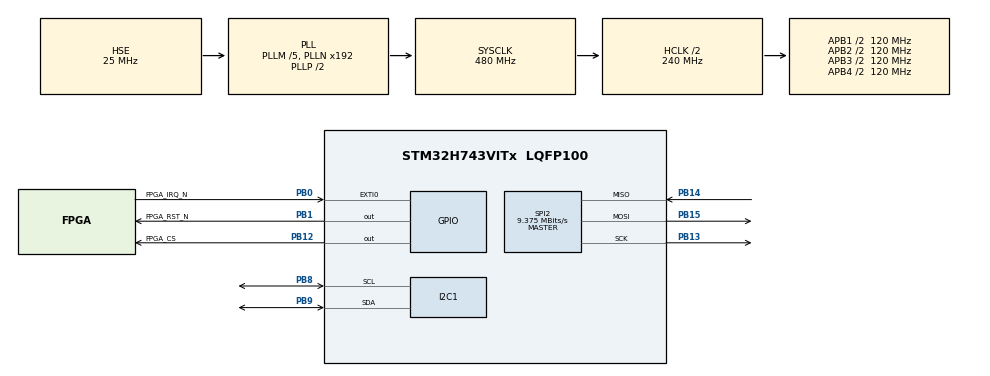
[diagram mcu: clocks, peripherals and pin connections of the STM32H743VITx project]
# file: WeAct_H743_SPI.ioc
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CORTEX_M7.default_mode_Activation=1
Dma.Request0=SPI2_TX
Dma.Request1=SPI2_RX
Dma.SPI2_RX.1.Direction=DMA_PERIPH_TO_MEMORY
Dma.SPI2_RX.1.EventEnable=DISABLE
Dma.SPI2_RX.1.FIFOMode=DMA_FIFOMODE_DISABLE
Dma.SPI2_RX.1.Instance=DMA1_Stream1
Dma.SPI2_RX.1.MemDataAlignment=DMA_MDATAALIGN_BYTE
Dma.SPI2_RX.1.MemInc=DMA_MINC_ENABLE
Dma.SPI2_RX.1.Mode=DMA_NORMAL
Dma.SPI2_RX.1.PeriphDataAlignment=DMA_PDATAALIGN_BYTE
Dma.SPI2_RX.1.PeriphInc=DMA_PINC_DISABLE
Dma.SPI2_RX.1.Polarity=HAL_DMAMUX_REQ_GEN_RISING
Dma.SPI2_RX.1.Priority=DMA_PRIORITY_HIGH
Dma.SPI2_RX.1.RequestNumber=1
Dma.SPI2_RX.1.SignalID=NONE
Dma.SPI2_RX.1.SyncEnable=DISABLE
Dma.SPI2_RX.1.SyncPolarity=HAL_DMAMUX_SYNC_NO_EVENT
Dma.SPI2_RX.1.SyncRequestNumber=1
Dma.SPI2_RX.1.SyncSignalID=NONE
Dma.SPI2_TX.0.Direction=DMA_MEMORY_TO_PERIPH
Dma.SPI2_TX.0.EventEnable=DISABLE
Dma.SPI2_TX.0.FIFOMode=DMA_FIFOMODE_DISABLE
Dma.SPI2_TX.0.Instance=DMA1_Stream0
Dma.SPI2_TX.0.MemDataAlignment=DMA_MDATAALIGN_BYTE
Dma.SPI2_TX.0.MemInc=DMA_MINC_ENABLE
Dma.SPI2_TX.0.Mode=DMA_NORMAL
Dma.SPI2_TX.0.PeriphDataAlignment=DMA_PDATAALIGN_BYTE
Dma.SPI2_TX.0.PeriphInc=DMA_PINC_DISABLE
Dma.SPI2_TX.0.Polarity=HAL_DMAMUX_REQ_GEN_RISING
Dma.SPI2_TX.0.Priority=DMA_PRIORITY_HIGH
Dma.SPI2_TX.0.RequestNumber=1
Dma.SPI2_TX.0.SignalID=NONE
Dma.SPI2_TX.0.SyncEnable=DISABLE
Dma.SPI2_TX.0.SyncPolarity=HAL_DMAMUX_SYNC_NO_EVENT
Dma.SPI2_TX.0.SyncRequestNumber=1
Dma.SPI2_TX.0.SyncSignalID=NONE
FREERTOS.Queues01=displayQueue,8,DisplayRequest,0,Dynamic,NULL,NULL
FREERTOS.Tasks01=defaultTask,8,128,StartDefaultTask,Default,NULL,Dynamic,NULL,NULL;DisplayTask,24,1024,StartDisplayTask,Default,NULL,Dynamic,NULL,NULL;GuiTask,16,2048,StartGuiTask,Default,NULL,Dynamic,NULL,NULL
FREERTOS.configCHECK_FOR_STACK_OVERFLOW=2
FREERTOS.configTOTAL_HEAP_SIZE=32768
FREERTOS.configUSE_MALLOC_FAILED_HOOK=1
Mcu.Family=STM32H7
Mcu.Name=STM32H743VITx
Mcu.Package=LQFP100
NVIC.DMA1_Stream0_IRQn=true\:5\:0\:false\:false\:true\:true\:true\:true
NVIC.DMA1_Stream1_IRQn=true\:5\:0\:false\:false\:true\:true\:true\:true
NVIC.EXTI0_IRQn=true\:5\:0\:false\:false\:true\:true\:true\:true
NVIC.PriorityGroup=NVIC_PRIORITYGROUP_4
NVIC.SPI2_IRQn=true\:5\:0\:false\:false\:true\:true\:true\:true
NVIC.TIM6_DAC_IRQn=true\:15\:0\:false\:false\:true\:false\:false\:true\:true
NVIC.TimeBase=TIM6_DAC_IRQn
NVIC.TimeBaseIP=TIM6
PA13\ (JTMS/SWDIO).Mode=Serial_Wire
PA13\ (JTMS/SWDIO).Signal=DEBUG_JTMS-SWDIO
PA14\ (JTCK/SWCLK).Mode=Serial_Wire
PA14\ (JTCK/SWCLK).Signal=DEBUG_JTCK-SWCLK
PB8.Mode=I2C
PB8.Signal=I2C1_SCL
PB9.Mode=I2C
PB9.Signal=I2C1_SDA
PB0.GPIO_Label=FPGA_IRQ_N
PB0.GPIO_ModeDefaultEXTI=GPIO_MODE_IT_FALLING
PB0.GPIO_PuPd=GPIO_PULLUP
PB0.Signal=GPXTI0
PB1.GPIO_Label=FPGA_RST_N
PB1.GPIO_ModeDefaultOutputPP=GPIO_MODE_OUTPUT_OD
PB1.PinState=GPIO_PIN_SET
PB1.Signal=GPIO_Output
PB12.GPIO_Label=FPGA_CS
PB12.GPIO_Speed=GPIO_SPEED_FREQ_HIGH
PB12.PinState=GPIO_PIN_SET
PB12.Signal=GPIO_Output
PB13.GPIO_Speed=GPIO_SPEED_FREQ_MEDIUM
PB13.Mode=Full_Duplex_Master
PB13.Signal=SPI2_SCK
PB14.GPIO_Speed=GPIO_SPEED_FREQ_MEDIUM
PB14.Mode=Full_Duplex_Master
PB14.Signal=SPI2_MISO
PB15.GPIO_Speed=GPIO_SPEED_FREQ_MEDIUM
PB15.Mode=Full_Duplex_Master
PB15.Signal=SPI2_MOSI
PH0-OSC_IN\ (PH0).Mode=HSE-External-Oscillator
PH0-OSC_IN\ (PH0).Signal=RCC_OSC_IN
PH1-OSC_OUT\ (PH1).Mode=HSE-External-Oscillator
PH1-OSC_OUT\ (PH1).Signal=RCC_OSC_OUT
ProjectManager.HeapSize=0x200
ProjectManager.StackSize=0x400
ProjectManager.TargetToolchain=CMake
RCC.ADCFreq_Value=150000000
RCC.APB1Freq_Value=120000000
RCC.APB2Freq_Value=120000000
RCC.APB3Freq_Value=120000000
RCC.APB4Freq_Value=120000000
RCC.CortexFreq_Value=480000000
RCC.D1PPRE=RCC_APB3_DIV2
RCC.D2PPRE1=RCC_APB1_DIV2
RCC.D2PPRE2=RCC_APB2_DIV2
RCC.D3PPRE=RCC_APB4_DIV2
RCC.DIVM1=5
RCC.DIVM2=5
RCC.DIVN1=192
RCC.DIVN2=60
RCC.DIVQ1=20
RCC.HCLKFreq_Value=240000000
RCC.HPRE=RCC_HCLK_DIV2
RCC.PLL2FRACN=0
RCC.PLL3FRACN=0
RCC.PLLFRACN=0
RCC.PLLSourceVirtual=RCC_PLLSOURCE_HSE
RCC.SPI123CLockSelection=RCC_SPI123CLKSOURCE_PLL2
RCC.SYSCLKFreq_VALUE=480000000
RCC.SYSCLKSource=RCC_SYSCLKSOURCE_PLLCLK
RCC.USBFreq_Value=48000000
SPI2.BaudRatePrescaler=SPI_BAUDRATEPRESCALER_16
SPI2.CalculateBaudRate=9.375 MBits/s
SPI2.DataSize=SPI_DATASIZE_8BIT
SPI2.Direction=SPI_DIRECTION_2LINES
SPI2.MasterKeepIOState=SPI_MASTER_KEEP_IO_STATE_ENABLE
SPI2.Mode=SPI_MODE_MASTER
SPI2.NSSPMode=SPI_NSS_PULSE_DISABLE
SPI2.VirtualType=VM_MASTER
I2C1.AddressingMode=I2C_ADDRESSINGMODE_7BIT
I2C1.DualAddressMode=I2C_DUALADDRESS_DISABLE
I2C1.GeneralCallMode=I2C_GENERALCALL_DISABLE
I2C1.NoStretchMode=I2C_NOSTRETCH_DISABLE
I2C1.OwnAddress1=0
I2C1.OwnAddress2=0
I2C1.OwnAddress2Masks=I2C_OA2_NOMASK
I2C1.Timing=0x00B03FDB
VP_MEMORYMAP_VS_MEMORYMAP.Mode=CurAppReg
VP_FREERTOS_VS_CMSIS_V2.Mode=CMSIS_V2
VP_SYS_VS_tim6.Mode=TIM6
board=custom

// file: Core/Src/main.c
/* USER CODE BEGIN Header */
/**
  ******************************************************************************
  * @file           : main.c
  * @brief          : Main program body
  ******************************************************************************
  * @attention
  *
  * Copyright (c) 2026 STMicroelectronics.
  * All rights reserved.
  *
  * This software is licensed under terms that can be found in the LICENSE file
  * in the root directory of this software component.
  * If no LICENSE file comes with this software, it is provided AS-IS.
  *
  ******************************************************************************
  */
/* USER CODE END Header */
#include "main.h"
#include "dma.h"
#include "i2c.h"
#include "spi.h"
#include "gpio.h"
#include "cmsis_os.h"

/* USER CODE BEGIN PV */
// Active-low FPGA_IRQ_N on PB0; EXTI triggers on the falling edge.
// High means no event; low means an event that must be acknowledged over SPI
// after PRESENT completes. The callback does not use SPI.
volatile uint32_t g_fpga_irq_count;   // observed falling edges
volatile uint32_t g_fpga_irq_pending; // 1 = event not yet consumed
volatile uint32_t g_fpga_irq_level;   // steady-state sampled level: expected 1
volatile uint32_t g_fpga_irq_unobserved_count;
/* USER CODE END PV */

void SystemClock_Config(void);
static void MPU_Config(void);
void MX_FREERTOS_Init(void);

/* USER CODE BEGIN 0 */
// The callback counts the edge and sets a flag. LCD_Present reads the state and
// acknowledges the event over SPI in the caller context, outside the interrupt.
void HAL_GPIO_EXTI_Callback(uint16_t GPIO_Pin)
{
    if(GPIO_Pin==FPGA_IRQ_N_Pin) {
        g_fpga_irq_count++;
        g_fpga_irq_pending=1;
    }
}
/* USER CODE END 0 */

int main(void)
{

  /* MPU Configuration--------------------------------------------------------*/
  MPU_Config();

  /* MCU Configuration--------------------------------------------------------*/

  /* Reset of all peripherals, Initializes the Flash interface and the Systick. */
  HAL_Init();

  /* Configure the system clock */
  SystemClock_Config();

  /* Initialize all configured peripherals */
  MX_GPIO_Init();
  MX_DMA_Init();
  MX_I2C1_Init();
  MX_SPI2_Init();

  /* Init scheduler */
  osKernelInitialize();

  /* Call init function for freertos objects (in freertos.c) */
  MX_FREERTOS_Init();

  /* Start scheduler */
  osKernelStart();

  /* Infinite loop */
  while (1)
  {

  }
}

void SystemClock_Config(void)
{
  RCC_OscInitTypeDef RCC_OscInitStruct = {0};
  RCC_ClkInitTypeDef RCC_ClkInitStruct = {0};

  /** Supply configuration update enable
  */
  HAL_PWREx_ConfigSupply(PWR_LDO_SUPPLY);

  /** Configure the main internal regulator output voltage
  */
  __HAL_PWR_VOLTAGESCALING_CONFIG(PWR_REGULATOR_VOLTAGE_SCALE0);

  while(!__HAL_PWR_GET_FLAG(PWR_FLAG_VOSRDY)) {}

  /** Initializes the RCC Oscillators according to the specified parameters
  * in the RCC_OscInitTypeDef structure.
  */
  RCC_OscInitStruct.OscillatorType = RCC_OSCILLATORTYPE_HSE;
  RCC_OscInitStruct.HSEState = RCC_HSE_ON;
  RCC_OscInitStruct.PLL.PLLState = RCC_PLL_ON;
  RCC_OscInitStruct.PLL.PLLSource = RCC_PLLSOURCE_HSE;
  RCC_OscInitStruct.PLL.PLLM = 5;
  RCC_OscInitStruct.PLL.PLLN = 192;
  RCC_OscInitStruct.PLL.PLLP = 2;
  RCC_OscInitStruct.PLL.PLLQ = 20;
  RCC_OscInitStruct.PLL.PLLR = 2;
  RCC_OscInitStruct.PLL.PLLRGE = RCC_PLL1VCIRANGE_2;
  RCC_OscInitStruct.PLL.PLLVCOSEL = RCC_PLL1VCOWIDE;
  RCC_OscInitStruct.PLL.PLLFRACN = 0;
  if (HAL_RCC_OscConfig(&RCC_OscInitStruct) != HAL_OK)
  {
    Error_Handler();
  }

  /** Initializes the CPU, AHB and APB buses clocks
  */
  RCC_ClkInitStruct.ClockType = RCC_CLOCKTYPE_HCLK|RCC_CLOCKTYPE_SYSCLK
                              |RCC_CLOCKTYPE_PCLK1|RCC_CLOCKTYPE_PCLK2
                              |RCC_CLOCKTYPE_D3PCLK1|RCC_CLOCKTYPE_D1PCLK1;
  RCC_ClkInitStruct.SYSCLKSource = RCC_SYSCLKSOURCE_PLLCLK;
  RCC_ClkInitStruct.SYSCLKDivider = RCC_SYSCLK_DIV1;
  RCC_ClkInitStruct.AHBCLKDivider = RCC_HCLK_DIV2;
  RCC_ClkInitStruct.APB3CLKDivider = RCC_APB3_DIV2;
  RCC_ClkInitStruct.APB1CLKDivider = RCC_APB1_DIV2;
  RCC_ClkInitStruct.APB2CLKDivider = RCC_APB2_DIV2;
  RCC_ClkInitStruct.APB4CLKDivider = RCC_APB4_DIV2;

  if (HAL_RCC_ClockConfig(&RCC_ClkInitStruct, FLASH_LATENCY_4) != HAL_OK)
  {
    Error_Handler();
  }
}

 /* MPU Configuration */

void MPU_Config(void)
{
  MPU_Region_InitTypeDef MPU_InitStruct = {0};

  /* Disables the MPU */
  HAL_MPU_Disable();

  /** Initializes and configures the Region and the memory to be protected
  */
  MPU_InitStruct.Enable = MPU_REGION_ENABLE;
  MPU_InitStruct.Number = MPU_REGION_NUMBER0;
  MPU_InitStruct.BaseAddress = 0x0;
  MPU_InitStruct.Size = MPU_REGION_SIZE_4GB;
  MPU_InitStruct.SubRegionDisable = 0x87;
  MPU_InitStruct.TypeExtField = MPU_TEX_LEVEL0;
  MPU_InitStruct.AccessPermission = MPU_REGION_NO_ACCESS;
  MPU_InitStruct.DisableExec = MPU_INSTRUCTION_ACCESS_DISABLE;
  MPU_InitStruct.IsShareable = MPU_ACCESS_SHAREABLE;
  MPU_InitStruct.IsCacheable = MPU_ACCESS_NOT_CACHEABLE;
  MPU_InitStruct.IsBufferable = MPU_ACCESS_NOT_BUFFERABLE;

  HAL_MPU_ConfigRegion(&MPU_InitStruct);
  /* Enables the MPU */
  HAL_MPU_Enable(MPU_PRIVILEGED_DEFAULT);

}

void Error_Handler(void)
{
  __disable_irq();
  while (1)
  {
  }
}

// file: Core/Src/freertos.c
/* USER CODE BEGIN Header */
/**
  ******************************************************************************
  * @file    freertos.c
  * @brief   FreeRTOS objects and task entry points.
  ******************************************************************************
  */
/* USER CODE END Header */

#include "FreeRTOS.h"
#include "task.h"
#include "main.h"
#include "cmsis_os.h"

/* USER CODE BEGIN Includes */
#include "display_task.h"
#include "lvgl_demo.h"
#include "lvgl_port.h"
#include "touch_probe.h"
#include "gt911_port.h"
/* USER CODE END Includes */

osThreadId_t defaultTaskHandle;
const osThreadAttr_t defaultTask_attributes = {
  .name = "defaultTask",
  .stack_size = 128 * 4,
  .priority = (osPriority_t) osPriorityLow,
};

osThreadId_t DisplayTaskHandle;
const osThreadAttr_t DisplayTask_attributes = {
  .name = "DisplayTask",
  .stack_size = 1024 * 4,
  .priority = (osPriority_t) osPriorityNormal,
};

osThreadId_t GuiTaskHandle;
const osThreadAttr_t GuiTask_attributes = {
  .name = "GuiTask",
  .stack_size = 2048 * 4,
  .priority = (osPriority_t) osPriorityBelowNormal,
};

osMessageQueueId_t displayQueueHandle;
const osMessageQueueAttr_t displayQueue_attributes = {
  .name = "displayQueue"
};

static void StartDefaultTask(void *argument);
static void StartDisplayTask(void *argument);
static void StartGuiTask(void *argument);

void MX_FREERTOS_Init(void)
{
  displayQueueHandle = osMessageQueueNew(8, sizeof(DisplayRequest),
                                         &displayQueue_attributes);
  if (displayQueueHandle == NULL) {
    g_freertos_failure = 1;
    Error_Handler();
  }

  defaultTaskHandle = osThreadNew(StartDefaultTask, NULL,
                                  &defaultTask_attributes);
  DisplayTaskHandle = osThreadNew(StartDisplayTask, NULL,
                                  &DisplayTask_attributes);
  GuiTaskHandle = osThreadNew(StartGuiTask, NULL, &GuiTask_attributes);
  if (defaultTaskHandle == NULL || DisplayTaskHandle == NULL ||
      GuiTaskHandle == NULL) {
    g_freertos_failure = 2;
    Error_Handler();
  }
}

static void StartDefaultTask(void *argument)
{
  /* USER CODE BEGIN StartDefaultTask */
  (void)argument;
  Touch_Probe_Run();
  for (;;) {
    UBaseType_t words = uxTaskGetStackHighWaterMark(NULL);
    g_default_stack_high_water_words = (uint32_t)words;
    g_default_stack_high_water_bytes = (uint32_t)words * sizeof(StackType_t);
    osDelay(1000);
  }
  /* USER CODE END StartDefaultTask */
}

static void StartDisplayTask(void *argument)
{
  /* USER CODE BEGIN StartDisplayTask */
  (void)argument;
  DisplayTask_Run();
  osThreadExit();
  /* USER CODE END StartDisplayTask */
}

static void StartGuiTask(void *argument)
{
  (void)argument;
  while (!g_display_boot_complete && !g_freertos_failure) osDelay(1);
  while (g_touch_probe_state != 2 && !g_freertos_failure) osDelay(1);
  if (!g_display_ready || g_freertos_failure || !LVGL_Port_Init()) {
    g_lvgl_demo_state = 3;
    osThreadExit();
  }
  (void)GT911_Port_Init();
  LVGL_Demo_Create();
  for (;;) {
    LVGL_Port_Service(5);
    osDelay(5);
  }
}

void vApplicationMallocFailedHook(void)
{
  g_freertos_failure = 3;
  taskDISABLE_INTERRUPTS();
  for (;;) {}
}

void vApplicationStackOverflowHook(TaskHandle_t task, char *task_name)
{
  (void)task;
  (void)task_name;
  g_freertos_failure = 4;
  taskDISABLE_INTERRUPTS();
  for (;;) {}
}
